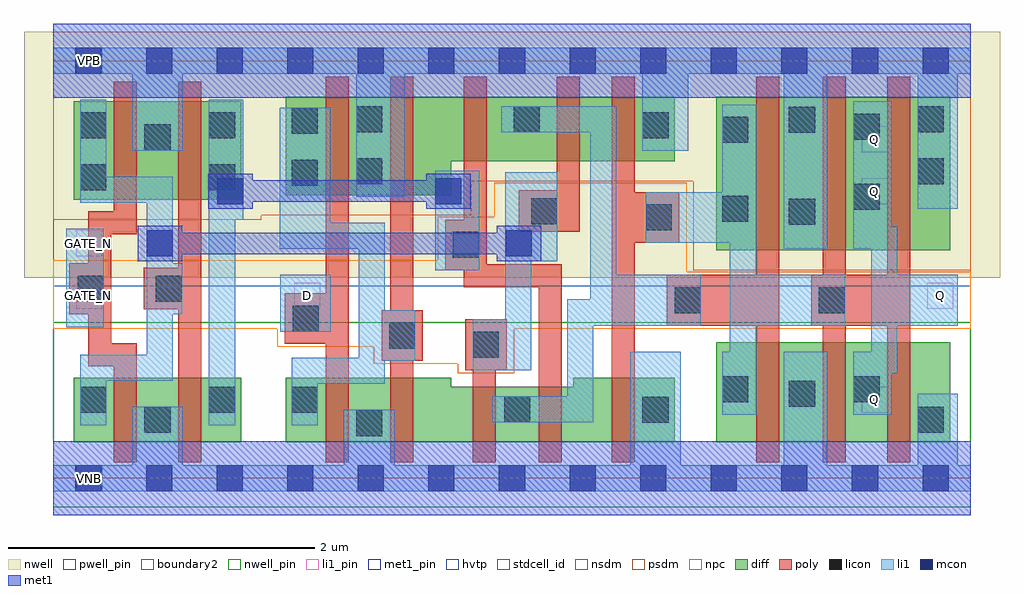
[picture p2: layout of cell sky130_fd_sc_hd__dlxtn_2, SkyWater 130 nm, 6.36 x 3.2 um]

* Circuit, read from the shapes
.subckt sky130_fd_sc_hd__dlxtn_2 D GATE_N Q VGND VNB VPB VPWR
XM1 VGND GATE_N n1 VNB sky130_fd_pr__nfet_01v8 w=0.42 l=0.15
XM2 n2 n1 VGND VNB sky130_fd_pr__nfet_01v8 w=0.42 l=0.15
XM3 VGND D n3 VNB sky130_fd_pr__nfet_01v8 w=0.42 l=0.15
XM4 n4 n3 VGND VNB sky130_fd_pr__nfet_01v8 w=0.42 l=0.15
XM5 n5 n1 n4 VNB sky130_fd_pr__nfet_01v8 w=0.36 l=0.15
XM6 n6 n2 n5 VNB sky130_fd_pr__nfet_01v8 w=0.36 l=0.15
XM7 VGND n7 n6 VNB sky130_fd_pr__nfet_01v8 w=0.42 l=0.15
XM8 VGND n5 n7 VNB sky130_fd_pr__nfet_01v8 w=0.65 l=0.15
XM9 Q n7 VGND VNB sky130_fd_pr__nfet_01v8 w=0.65 l=0.15 m=2
XM10 VPWR GATE_N n1 VPB sky130_fd_pr__pfet_01v8_hvt w=0.64 l=0.15
XM11 n2 n1 VPWR VPB sky130_fd_pr__pfet_01v8_hvt w=0.64 l=0.15
XM12 VPWR D n3 VPB sky130_fd_pr__pfet_01v8_hvt w=0.64 l=0.15
XM13 n8 n3 VPWR VPB sky130_fd_pr__pfet_01v8_hvt w=0.64 l=0.15
XM14 n5 n2 n8 VPB sky130_fd_pr__pfet_01v8_hvt w=0.42 l=0.15
XM15 n9 n1 n5 VPB sky130_fd_pr__pfet_01v8_hvt w=0.42 l=0.15
XM16 VPWR n7 n9 VPB sky130_fd_pr__pfet_01v8_hvt w=0.42 l=0.15
XM17 VPWR n5 n7 VPB sky130_fd_pr__pfet_01v8_hvt w=1 l=0.15
XM18 Q n7 VPWR VPB sky130_fd_pr__pfet_01v8_hvt w=1 l=0.15 m=2
.ends

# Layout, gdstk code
import gdstk
lib = gdstk.Library(unit=1e-6, precision=1e-09)
def R(c, l, rs):  # rectangles x0, y0, x1, y1
    for r in rs: c.add(gdstk.rectangle(r[:2], r[2:], *l))
def A(c, l, x, y, w, h, nx, ny, dx, dy):  # array of equal rectangles
    R(c, l, [(x+i*dx, y+j*dy, x+i*dx+w, y+j*dy+h) for i in range(nx) for j in range(ny)])
def P(c, l, *ps):  # polygons
    for p in ps: c.add(gdstk.Polygon(p, *l))
nwell_pin = (64, 16)
nwell = (64, 20)
diff = (65, 20)
poly = (66, 20)
licon = (66, 44)
li1_pin = (67, 16)
li1 = (67, 20)
mcon = (67, 44)
met1_pin = (68, 16)
met1 = (68, 20)
hvtp = (78, 44)
stdcell_id = (81, 4)
nsdm = (93, 44)
psdm = (94, 20)
npc = (95, 20)
pwell_pin = (122, 16)
boundary2 = (236, 0)

sky130_fd_sc_hd__dlxtn_2 = lib.new_cell('sky130_fd_sc_hd__dlxtn_2')
R(sky130_fd_sc_hd__dlxtn_2, nwell_pin, [(0.15,2.635,0.32,2.805)])
R(sky130_fd_sc_hd__dlxtn_2, nwell, [(-0.19,1.305,6.17,2.91)])
R(sky130_fd_sc_hd__dlxtn_2, diff, [(0.135,0.235,1.225,0.655), (4.32,0.235,5.845,0.885), (4.32,1.485,5.845,2.485), (0.135,1.815,1.225,2.455)])
P(sky130_fd_sc_hd__dlxtn_2, diff, [(4.05,0.655),(3.39,0.655),(3.39,0.595),(2.595,0.595),(2.595,0.655),(1.515,0.655),(1.515,0.235),(4.05,0.235)],
  [(4.05,2.485),(1.515,2.485),(1.515,1.845),(2.595,1.845),(2.595,2.065),(4.05,2.065)])
P(sky130_fd_sc_hd__dlxtn_2, poly, [(5.585,2.615),(5.435,2.615),(5.435,1.325),(5.165,1.325),(5.165,2.615),(5.015,2.615),(5.015,1.325),(4.94,1.325),(4.94,0.995),(5.015,0.995),(5.015,0.105),(5.165,0.105),(5.165,0.995),(5.435,0.995),(5.435,0.105),(5.585,0.105)],
  [(4.73,2.615),(4.58,2.615),(4.58,1.325),(4,1.325),(4,0.995),(4.58,0.995),(4.58,0.105),(4.73,0.105)],
  [(4.08,1.865),(3.79,1.865),(3.79,2.615),(3.64,2.615),(3.64,0.105),(3.79,0.105),(3.79,1.535),(4.08,1.535)],
  [(3.43,2.615),(3.28,2.615),(3.28,1.875),(3.035,1.875),(3.035,1.605),(3.43,1.605)],
  [(3.315,1.395),(2.825,1.395),(2.825,2.615),(2.675,2.615),(2.675,1.685),(2.555,1.685),(2.555,1.355),(2.675,1.355),(2.675,1.245),(3.165,1.245),(3.165,0.105),(3.315,0.105)],
  [(2.955,1.035),(2.685,1.035),(2.685,0.705),(2.735,0.705),(2.735,0.105),(2.885,0.105),(2.885,0.705),(2.955,0.705)],
  [(2.41,1.095),(2.345,1.095),(2.345,2.615),(2.195,2.615),(2.195,1.095),(2.14,1.095),(2.14,0.765),(2.195,0.765),(2.195,0.105),(2.345,0.105),(2.345,0.765),(2.41,0.765)],
  [(1.925,2.615),(1.775,2.615),(1.775,1.205),(1.51,1.205),(1.51,0.875),(1.775,0.875),(1.775,0.105),(1.925,0.105)],
  [(0.965,2.585),(0.815,2.585),(0.815,1.37),(0.59,1.37),(0.59,1.1),(0.815,1.1),(0.815,0.105),(0.965,0.105)],
  [(0.545,0.88),(0.38,0.88),(0.38,1.59),(0.545,1.59),(0.545,2.585),(0.395,2.585),(0.395,1.74),(0.23,1.74),(0.23,1.4),(0.105,1.4),(0.105,1.07),(0.23,1.07),(0.23,0.73),(0.395,0.73),(0.395,0.105),(0.545,0.105)])
R(sky130_fd_sc_hd__dlxtn_2, licon, [(1.975,0.275,2.145,0.445), (0.595,0.295,0.765,0.465), (5.635,0.295,5.805,0.465), (3.84,0.36,4.01,0.53), (2.94,0.365,3.11,0.535), (0.175,0.425,0.345,0.595), (1.015,0.425,1.185,0.595), (1.555,0.425,1.725,0.595), (4.795,0.465,4.965,0.635), (4.36,0.495,4.53,0.665), (5.215,0.495,5.385,0.665), (2.735,0.785,2.905,0.955), (2.19,0.845,2.36,1.015), (1.56,0.955,1.73,1.125), (4.05,1.075,4.22,1.245), (4.99,1.075,5.16,1.245), (0.16,1.15,0.33,1.32), (0.67,1.15,0.84,1.32), (2.605,1.435,2.775,1.605), (3.86,1.615,4.03,1.785), (4.795,1.65,4.965,1.82), (3.115,1.655,3.285,1.825), (4.36,1.67,4.53,1.84), (5.215,1.75,5.385,1.92), (0.175,1.875,0.345,2.045), (1.015,1.875,1.185,2.045), (1.555,1.905,1.725,2.075), (1.975,1.915,2.145,2.085), (5.635,1.915,5.805,2.085), (0.595,2.135,0.765,2.305), (4.36,2.185,4.53,2.355), (5.215,2.205,5.385,2.375), (0.175,2.215,0.345,2.385), (1.015,2.215,1.185,2.385), (3.84,2.215,4.01,2.385), (1.555,2.245,1.725,2.415), (4.795,2.25,4.965,2.42), (1.975,2.255,2.145,2.425), (3,2.255,3.17,2.425), (5.635,2.255,5.805,2.425)])
R(sky130_fd_sc_hd__dlxtn_2, li1_pin, [(5.27,0.425,5.44,0.595), (0.15,1.105,0.32,1.275), (1.57,1.105,1.74,1.275), (5.695,1.105,5.865,1.275), (0.15,1.445,0.32,1.615), (5.27,1.785,5.44,1.955), (5.27,2.125,5.44,2.295)])
R(sky130_fd_sc_hd__dlxtn_2, li1, [(1.48,0.955,1.81,1.325), (0.085,0.985,0.33,1.625), (2.49,1.355,2.775,2.005)])
P(sky130_fd_sc_hd__dlxtn_2, li1, [(5.895,1.325),(5.5,1.325),(5.5,1.64),(5.465,1.64),(5.465,2.455),(5.215,2.455),(5.215,1.495),(5.33,1.495),(5.33,0.825),(5.215,0.825),(5.215,0.415),(5.465,0.415),(5.465,0.685),(5.5,0.685),(5.5,0.995),(5.895,0.995)],
  [(5.98,0.085),(5.895,0.085),(5.895,0.55),(5.635,0.55),(5.635,0.085),(5.045,0.085),(5.045,0.825),(4.76,0.825),(4.76,0.085),(4.09,0.085),(4.09,0.825),(3.76,0.825),(3.76,0.085),(2.225,0.085),(2.225,0.445),(1.895,0.445),(1.895,0.085),(0.845,0.085),(0.845,0.465),(0.515,0.465),(0.515,0.085),(0,0.085),(0,-0.085),(5.98,-0.085)],
  [(5.98,2.805),(0,2.805),(0,2.635),(0.515,2.635),(0.515,2.135),(0.845,2.135),(0.845,2.635),(1.975,2.635),(1.975,1.835),(2.29,1.835),(2.29,2.635),(3.84,2.635),(3.84,2.135),(4.14,2.135),(4.14,2.635),(4.76,2.635),(4.76,1.495),(5.045,1.495),(5.045,2.635),(5.635,2.635),(5.635,1.755),(5.895,1.755),(5.895,2.635),(5.98,2.635)],
  [(5.16,1.325),(4.58,1.325),(4.58,2.435),(4.36,2.435),(4.36,1.865),(3.86,1.865),(3.86,1.535),(4.41,1.535),(4.41,0.825),(4.36,0.825),(4.36,0.415),(4.58,0.415),(4.58,0.995),(5.16,0.995)],
  [(4.22,1.325),(3.67,1.325),(3.67,2.425),(2.92,2.425),(2.92,2.255),(3.5,2.255),(3.5,1.165),(3.35,1.165),(3.35,0.535),(2.86,0.535),(2.86,0.365),(3.52,0.365),(3.52,0.995),(4.22,0.995)],
  [(3.285,1.995),(2.945,1.995),(2.945,1.035),(2.735,1.035),(2.735,0.705),(3.115,0.705),(3.115,1.415),(3.285,1.415)],
  [(2.36,1.095),(2.16,1.095),(2.16,1.665),(1.805,1.665),(1.805,2.415),(1.475,2.415),(1.475,1.495),(1.99,1.495),(1.99,0.785),(1.555,0.785),(1.555,0.345),(1.725,0.345),(1.725,0.615),(2.16,0.615),(2.16,0.765),(2.36,0.765)],
  [(0.84,1.4),(0.78,1.4),(0.78,1.965),(0.345,1.965),(0.345,2.465),(0.175,2.465),(0.175,1.795),(0.61,1.795),(0.61,0.805),(0.175,0.805),(0.175,0.345),(0.345,0.345),(0.345,0.635),(0.78,0.635),(0.78,1.07),(0.84,1.07)],
  [(1.24,2.465),(1.015,2.465),(1.015,0.345),(1.185,0.345),(1.185,1.685),(1.24,1.685)])
A(sky130_fd_sc_hd__dlxtn_2, mcon, 0.145, -0.085, 0.17, 0.17, 13, 2, 0.46, 2.72)
R(sky130_fd_sc_hd__dlxtn_2, mcon, [(0.61,1.445,0.78,1.615), (2.95,1.445,3.12,1.615), (1.07,1.785,1.24,1.955), (2.49,1.785,2.66,1.955)])
R(sky130_fd_sc_hd__dlxtn_2, met1_pin, [(0.15,-0.085,0.32,0.085), (0.15,2.635,0.32,2.805)])
P(sky130_fd_sc_hd__dlxtn_2, met1, [(3.18,1.645),(2.89,1.645),(2.89,1.6),(0.84,1.6),(0.84,1.645),(0.55,1.645),(0.55,1.415),(0.84,1.415),(0.84,1.46),(2.89,1.46),(2.89,1.415),(3.18,1.415)],
  [(2.72,1.985),(2.43,1.985),(2.43,1.94),(1.3,1.94),(1.3,1.985),(1.01,1.985),(1.01,1.755),(1.3,1.755),(1.3,1.8),(2.43,1.8),(2.43,1.755),(2.72,1.755)])
R(sky130_fd_sc_hd__dlxtn_2, hvtp, [(0,1.25,5.98,2.72)])
R(sky130_fd_sc_hd__dlxtn_2, stdcell_id, [(0,0,5.98,2.72)])
R(sky130_fd_sc_hd__dlxtn_2, nsdm, [(0,-0.19,5.98,1.015)])
P(sky130_fd_sc_hd__dlxtn_2, psdm, [(5.98,2.91),(0,2.91),(0,1.685),(1.355,1.685),(1.355,1.715),(2.725,1.715),(2.725,1.935),(4.17,1.935),(4.17,1.355),(5.98,1.355)])
P(sky130_fd_sc_hd__dlxtn_2, npc, [(5.98,1.345),(4.13,1.345),(4.13,1.925),(2.875,1.925),(2.875,1.705),(2.505,1.705),(2.505,1.42),(0,1.42),(0,0.975),(1.46,0.975),(1.46,0.855),(2.09,0.855),(2.09,0.745),(2.635,0.745),(2.635,0.685),(3.005,0.685),(3.005,0.975),(5.98,0.975)])
R(sky130_fd_sc_hd__dlxtn_2, pwell_pin, [(0.15,-0.085,0.32,0.085)])
R(sky130_fd_sc_hd__dlxtn_2, boundary2, [(0,0,5.98,2.72)])
sky130_fd_sc_hd__dlxtn_2.add(gdstk.FlexPath([(0,0),(5.98,0)], 0.48, ends="flush", simple_path=True, layer=68, datatype=20))  # met1
sky130_fd_sc_hd__dlxtn_2.add(gdstk.FlexPath([(0,2.72),(5.98,2.72)], 0.48, ends="flush", simple_path=True, layer=68, datatype=20))  # met1
sky130_fd_sc_hd__dlxtn_2.add(gdstk.Label('D', (1.655,1.19), layer=67, texttype=5))
sky130_fd_sc_hd__dlxtn_2.add(gdstk.Label('GATE_N', (0.23,1.19), layer=67, texttype=5))
sky130_fd_sc_hd__dlxtn_2.add(gdstk.Label('Q', (5.355,1.87), layer=67, texttype=5))
sky130_fd_sc_hd__dlxtn_2.add(gdstk.Label('GATE_N', (0.23,1.53), layer=67, texttype=5))
sky130_fd_sc_hd__dlxtn_2.add(gdstk.Label('Q', (5.355,2.21), layer=67, texttype=5))
sky130_fd_sc_hd__dlxtn_2.add(gdstk.Label('Q', (5.355,0.51), layer=67, texttype=5))
sky130_fd_sc_hd__dlxtn_2.add(gdstk.Label('Q', (5.78,1.19), layer=67, texttype=5))
sky130_fd_sc_hd__dlxtn_2.add(gdstk.Label('VNB', (0.235,0), layer=64, texttype=59))
sky130_fd_sc_hd__dlxtn_2.add(gdstk.Label('VPB', (0.235,2.72), layer=64, texttype=5))
sky130_fd_sc_hd__dlxtn_2.add(gdstk.Label('VPWR', (0.23,2.72), layer=68, texttype=5))
sky130_fd_sc_hd__dlxtn_2.add(gdstk.Label('VGND', (0.23,0), layer=68, texttype=5))
sky130_fd_sc_hd__dlxtn_2.add(gdstk.Label('dlxtn_2', (0,0), layer=83, texttype=44))

lib.write_gds('sky130_fd_sc_hd__dlxtn_2.gds')
